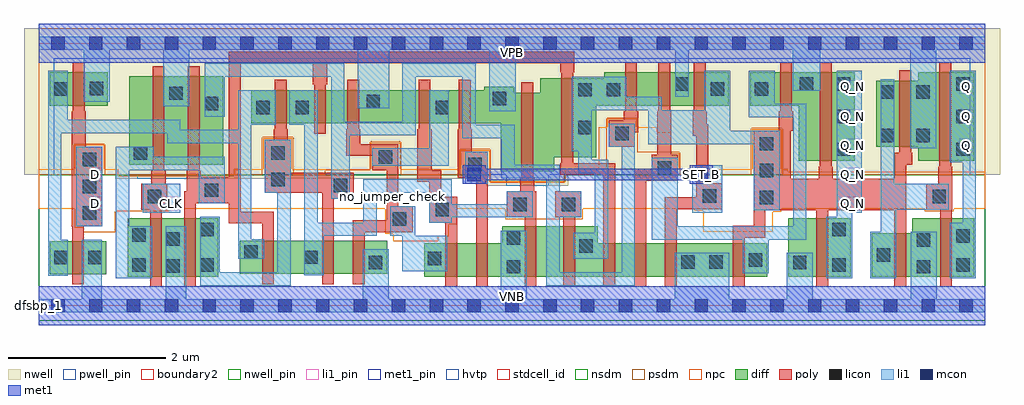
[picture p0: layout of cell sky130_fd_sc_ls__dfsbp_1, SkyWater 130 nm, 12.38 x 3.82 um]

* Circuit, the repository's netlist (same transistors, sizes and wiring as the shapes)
* Copyright 2020 The SkyWater PDK Authors
*
* Licensed under the Apache License, Version 2.0 (the "License");
* you may not use this file except in compliance with the License.
* You may obtain a copy of the License at
*
*     https://www.apache.org/licenses/LICENSE-2.0
*
* Unless required by applicable law or agreed to in writing, software
* distributed under the License is distributed on an "AS IS" BASIS,
* WITHOUT WARRANTIES OR CONDITIONS OF ANY KIND, either express or implied.
* See the License for the specific language governing permissions and
* limitations under the License.
*
* SPDX-License-Identifier: Apache-2.0

.SUBCKT sky130_fd_sc_ls__dfsbp_1 CLK D SET_B VGND VNB VPB VPWR Q Q_N
*.PININFO CLK:I D:I SET_B:I VGND:I VNB:I VPB:I VPWR:I Q:O Q_N:O
MI36 net129 M0 VGND VNB sky130_fd_pr__nfet_01v8 m=1 w=0.64U l=0.15U mult=1 sa=0.265
+ sb=0.265 sd=0.28 area=0.063 perim=1.14
MI42 db clkneg M0 VNB sky130_fd_pr__nfet_01v8 m=1 w=0.42U l=0.15U mult=1 sa=0.265
+ sb=0.265 sd=0.28 area=0.063 perim=1.14
MI44 clkneg CLK VGND VNB sky130_fd_pr__nfet_01v8 m=1 w=0.74U l=0.15U mult=1 sa=0.265
+ sb=0.265 sd=0.28 area=0.063 perim=1.14
MI39 db D VGND VNB sky130_fd_pr__nfet_01v8 m=1 w=0.42U l=0.15U mult=1 sa=0.265
+ sb=0.265 sd=0.28 area=0.063 perim=1.14
MI656 M1 M0 net112 VNB sky130_fd_pr__nfet_01v8 m=1 w=0.42U l=0.15U mult=1 sa=0.265
+ sb=0.265 sd=0.28 area=0.063 perim=1.14
MI654 net109 M1 VGND VNB sky130_fd_pr__nfet_01v8 m=1 w=0.42U l=0.15U mult=1 sa=0.265
+ sb=0.265 sd=0.28 area=0.063 perim=1.14
MI34 S0 clkpos net129 VNB sky130_fd_pr__nfet_01v8 m=1 w=0.64U l=0.15U mult=1 sa=0.265
+ sb=0.265 sd=0.28 area=0.063 perim=1.14
MI46 clkpos clkneg VGND VNB sky130_fd_pr__nfet_01v8 m=1 w=0.74U l=0.15U mult=1
+ sa=0.265 sb=0.265 sd=0.28 area=0.063 perim=1.14
MI25 net97 SET_B VGND VNB sky130_fd_pr__nfet_01v8 m=1 w=0.42U l=0.15U mult=1 sa=0.265
+ sb=0.265 sd=0.28 area=0.063 perim=1.14
MI26 S0 clkneg net89 VNB sky130_fd_pr__nfet_01v8 m=1 w=0.42U l=0.15U mult=1 sa=0.265
+ sb=0.265 sd=0.28 area=0.063 perim=1.14
MI27 net89 S1 net97 VNB sky130_fd_pr__nfet_01v8 m=1 w=0.42U l=0.15U mult=1 sa=0.265
+ sb=0.265 sd=0.28 area=0.063 perim=1.14
MI647 S1 S0 VGND VNB sky130_fd_pr__nfet_01v8 m=1 w=0.42U l=0.15U mult=1 sa=0.265
+ sb=0.265 sd=0.28 area=0.063 perim=1.14
MI655 M0 clkpos net109 VNB sky130_fd_pr__nfet_01v8 m=1 w=0.42U l=0.15U mult=1 sa=0.265
+ sb=0.265 sd=0.28 area=0.063 perim=1.14
MI657 net112 SET_B VGND VNB sky130_fd_pr__nfet_01v8 m=1 w=0.42U l=0.15U mult=1
+ sa=0.265 sb=0.265 sd=0.28 area=0.063 perim=1.14
MI652 net141 S0 VGND VNB sky130_fd_pr__nfet_01v8 m=1 w=0.55U l=0.15U mult=1 sa=0.265
+ sb=0.265 sd=0.28 area=0.063 perim=1.14
MI653 Q net141 VGND VNB sky130_fd_pr__nfet_01v8 m=1 w=0.74U l=0.15U mult=1 sa=0.265
+ sb=0.265 sd=0.28 area=0.063 perim=1.14
MI49 Q_N S0 VGND VNB sky130_fd_pr__nfet_01v8 m=1 w=0.74U l=0.15U mult=1 sa=0.265
+ sb=0.265 sd=0.28 area=0.063 perim=1.14
MI40 db D VPWR VPB sky130_fd_pr__pfet_01v8_hvt m=1 w=0.42U l=0.15U mult=1 sa=0.265
+ sb=0.265 sd=0.28 area=0.063 perim=1.14
MI38 S0 clkneg net192 VPB sky130_fd_pr__pfet_01v8_hvt m=1 w=1.0U l=0.15U mult=1
+ sa=0.265 sb=0.265 sd=0.28 area=0.063 perim=1.14
MI37 net192 M0 VPWR VPB sky130_fd_pr__pfet_01v8_hvt m=1 w=1.0U l=0.15U mult=1 sa=0.265
+ sb=0.265 sd=0.28 area=0.063 perim=1.14
MI43 db clkpos M0 VPB sky130_fd_pr__pfet_01v8_hvt m=1 w=0.42U l=0.15U mult=1 sa=0.265
+ sb=0.265 sd=0.28 area=0.063 perim=1.14
MI45 clkneg CLK VPWR VPB sky130_fd_pr__pfet_01v8_hvt m=1 w=1.12U l=0.15U mult=1
+ sa=0.265 sb=0.265 sd=0.28 area=0.063 perim=1.14
MI47 clkpos clkneg VPWR VPB sky130_fd_pr__pfet_01v8_hvt m=1 w=1.12U l=0.15U mult=1
+ sa=0.265 sb=0.265 sd=0.28 area=0.063 perim=1.14
MI659 M1 SET_B VPWR VPB sky130_fd_pr__pfet_01v8_hvt m=1 w=0.42U l=0.15U mult=1
+ sa=0.265 sb=0.265 sd=0.28 area=0.063 perim=1.14
MI662 net169 M1 VPWR VPB sky130_fd_pr__pfet_01v8_hvt m=1 w=0.42U l=0.15U mult=1
+ sa=0.265 sb=0.265 sd=0.28 area=0.063 perim=1.14
MI664 M0 clkneg net169 VPB sky130_fd_pr__pfet_01v8_hvt m=1 w=0.42U l=0.15U mult=1
+ sa=0.265 sb=0.265 sd=0.28 area=0.063 perim=1.14
MI6 net156 S1 VPWR VPB sky130_fd_pr__pfet_01v8_hvt m=1 w=0.42U l=0.15U mult=1 sa=0.265
+ sb=0.265 sd=0.28 area=0.063 perim=1.14
MI5 S0 clkpos net156 VPB sky130_fd_pr__pfet_01v8_hvt m=1 w=0.42U l=0.15U mult=1
+ sa=0.265 sb=0.265 sd=0.28 area=0.063 perim=1.14
MI24 S0 SET_B VPWR VPB sky130_fd_pr__pfet_01v8_hvt m=1 w=0.42U l=0.15U mult=1 sa=0.265
+ sb=0.265 sd=0.28 area=0.063 perim=1.14
MI648 S1 S0 VPWR VPB sky130_fd_pr__pfet_01v8_hvt m=1 w=0.42U l=0.15U mult=1 sa=0.265
+ sb=0.265 sd=0.28 area=0.063 perim=1.14
MI658 M1 M0 VPWR VPB sky130_fd_pr__pfet_01v8_hvt m=1 w=0.42U l=0.15U mult=1 sa=0.265
+ sb=0.265 sd=0.28 area=0.063 perim=1.14
MI663 net141 S0 VPWR VPB sky130_fd_pr__pfet_01v8_hvt m=1 w=0.84U l=0.15U mult=1
+ sa=0.265 sb=0.265 sd=0.28 area=0.063 perim=1.14
MI660 Q net141 VPWR VPB sky130_fd_pr__pfet_01v8_hvt m=1 w=1.12U l=0.15U mult=1
+ sa=0.265 sb=0.265 sd=0.28 area=0.063 perim=1.14
MI50 Q_N S0 VPWR VPB sky130_fd_pr__pfet_01v8_hvt m=1 w=1.12U l=0.15U mult=1 sa=0.265
+ sb=0.265 sd=0.28 area=0.063 perim=1.14
.ENDS sky130_fd_sc_ls__dfsbp_1

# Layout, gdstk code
import gdstk
lib = gdstk.Library(unit=1e-6, precision=1e-09)
def R(c, l, rs):  # rectangles x0, y0, x1, y1
    for r in rs: c.add(gdstk.rectangle(r[:2], r[2:], *l))
def A(c, l, x, y, w, h, nx, ny, dx, dy):  # array of equal rectangles
    R(c, l, [(x+i*dx, y+j*dy, x+i*dx+w, y+j*dy+h) for i in range(nx) for j in range(ny)])
def P(c, l, *ps):  # polygons
    for p in ps: c.add(gdstk.Polygon(p, *l))
nwell_pin = (64, 16)
nwell = (64, 20)
diff = (65, 20)
poly = (66, 20)
licon = (66, 44)
li1_pin = (67, 16)
li1 = (67, 20)
mcon = (67, 44)
met1_pin = (68, 16)
met1 = (68, 20)
hvtp = (78, 44)
stdcell_id = (81, 4)
nsdm = (93, 44)
psdm = (94, 20)
npc = (95, 20)
pwell_pin = (122, 16)
boundary2 = (236, 0)

sky130_fd_sc_ls__dfsbp_1 = lib.new_cell('sky130_fd_sc_ls__dfsbp_1')
R(sky130_fd_sc_ls__dfsbp_1, nwell_pin, [(0,3.085,12,3.33)])
P(sky130_fd_sc_ls__dfsbp_1, nwell, [(12.19,3.52),(-0.19,3.52),(-0.19,1.66),(0.965,1.66),(0.965,1.61),(5.675,1.61),(5.675,1.525),(6.715,1.525),(6.715,1.66),(12.19,1.66)])
R(sky130_fd_sc_ls__dfsbp_1, diff, [(1.125,0.37,2.275,1.11), (9.505,0.37,10.295,1.11), (0.135,0.4,0.855,0.82), (2.545,0.405,4.415,0.825), (1.145,1.79,2.335,2.91), (0.135,2.54,0.875,2.96)])
P(sky130_fd_sc_ls__dfsbp_1, diff, [(8.75,2.96),(7.17,2.96),(7.17,2.885),(6.36,2.885),(6.36,2.705),(6.03,2.705),(6.03,2.775),(5.65,2.775),(5.65,2.735),(2.695,2.735),(2.695,2.315),(5.855,2.315),(5.855,1.705),(6.535,1.705),(6.535,1.885),(7.07,1.885),(7.07,2.54),(8.75,2.54)],
  [(9.235,0.79),(7.085,0.79),(7.085,1.01),(5.875,1.01),(5.875,0.79),(4.89,0.79),(4.89,0.37),(9.235,0.37)],
  [(10.35,2.96),(9.02,2.96),(9.02,2.54),(9.64,2.54),(9.64,1.84),(10.35,1.84)],
  [(11.865,2.96),(11.155,2.96),(11.155,2.855),(10.62,2.855),(10.62,2.015),(11.155,2.015),(11.155,1.84),(11.865,1.84)],
  [(11.865,1.11),(11.075,1.11),(11.075,0.92),(10.565,0.92),(10.565,0.37),(11.865,0.37)])
P(sky130_fd_sc_ls__dfsbp_1, poly, [(5.695,1.955),(5.49,1.955),(5.49,2.24),(5.475,2.24),(5.475,2.865),(5.325,2.865),(5.325,2.24),(5.31,2.24),(5.31,1.625),(5.545,1.625),(5.545,0.24),(5.695,0.24)],
  [(6.31,1.45),(6.285,1.45),(6.285,1.63),(6.27,1.63),(6.27,2.835),(6.12,2.835),(6.12,1.63),(6.105,1.63),(6.105,1.45),(5.935,1.45),(5.935,1.12),(6.16,1.12),(6.16,0.24),(6.31,0.24)],
  [(6.88,1.45),(6.55,1.45),(6.55,1.12),(6.65,1.12),(6.65,0.24),(6.8,0.24),(6.8,1.12),(6.88,1.12)],
  [(7.31,1.81),(6.775,1.81),(6.775,2.96),(6.79,2.96),(6.79,3.225),(2.41,3.225),(2.41,1.63),(2.055,1.63),(2.055,1.715),(2.04,1.715),(2.04,3.04),(1.89,3.04),(1.89,1.715),(1.875,1.715),(1.875,1.45),(1.84,1.45),(1.84,0.24),(1.99,0.24),(1.99,1.3),(2.41,1.3),(2.41,1.045),(2.83,1.045),(2.83,0.275),(2.98,0.275),(2.98,1.195),(2.56,1.195),(2.56,3.075),(3.475,3.075),(3.475,2.81),(3.49,2.81),(3.49,2.185),(3.64,2.185),(3.64,2.81),(3.655,2.81),(3.655,3.075),(6.61,3.075),(6.61,2.96),(6.625,2.96),(6.625,1.81),(6.61,1.81),(6.61,1.66),(7.16,1.66),(7.16,0.24),(7.31,0.24)],
  [(7.6,2.465),(7.585,2.465),(7.585,3.09),(7.435,3.09),(7.435,2.465),(7.42,2.465),(7.42,2.35),(7.23,2.35),(7.23,2.02),(7.56,2.02),(7.56,2.2),(7.6,2.2)],
  [(8.1,1.915),(8.02,1.915),(8.02,2.465),(8.005,2.465),(8.005,3.09),(7.855,3.09),(7.855,2.465),(7.84,2.465),(7.84,1.915),(7.77,1.915),(7.77,1.735),(7.55,1.735),(7.55,0.24),(7.7,0.24),(7.7,1.585),(8.1,1.585)],
  [(8.67,1.555),(8.49,1.555),(8.49,2.305),(8.47,2.305),(8.47,2.465),(8.455,2.465),(8.455,3.09),(8.305,3.09),(8.305,2.465),(8.29,2.465),(8.29,2.155),(8.34,2.155),(8.34,1.375),(7.94,1.375),(7.94,0.24),(8.09,0.24),(8.09,1.225),(8.67,1.225)],
  [(11.08,1.94),(11.065,1.94),(11.065,2.985),(10.915,2.985),(10.915,1.94),(10.85,1.94),(10.85,1.61),(10.07,1.61),(10.07,1.765),(10.055,1.765),(10.055,3.09),(9.905,3.09),(9.905,1.765),(9.89,1.765),(9.89,1.61),(9.535,1.61),(9.535,2.22),(9.565,2.22),(9.565,2.465),(9.55,2.465),(9.55,3.09),(9.4,3.09),(9.4,2.465),(9.385,2.465),(9.385,2.22),(9.065,2.22),(9.065,1.015),(8.8,1.015),(8.8,0.24),(8.95,0.24),(8.95,0.865),(9.215,0.865),(9.215,1.21),(9.86,1.21),(9.86,0.24),(10.01,0.24),(10.01,1.21),(10.85,1.21),(10.85,0.24),(11,0.24),(11,1.79),(11.08,1.79)],
  [(11.585,1.765),(11.57,1.765),(11.57,3.09),(11.42,3.09),(11.42,1.765),(11.405,1.765),(11.405,1.55),(11.255,1.55),(11.255,1.22),(11.43,1.22),(11.43,0.24),(11.58,0.24),(11.58,1.22),(11.585,1.22)],
  [(0.805,2.02),(0.595,2.02),(0.595,2.465),(0.58,2.465),(0.58,3.09),(0.43,3.09),(0.43,2.465),(0.415,2.465),(0.415,1.01),(0.42,1.01),(0.42,0.27),(0.57,0.27),(0.57,1.01),(0.805,1.01)],
  [(1.63,1.55),(1.605,1.55),(1.605,1.715),(1.59,1.715),(1.59,3.04),(1.44,3.04),(1.44,1.715),(1.425,1.715),(1.425,1.55),(1.3,1.55),(1.3,1.22),(1.41,1.22),(1.41,0.24),(1.56,0.24),(1.56,1.22),(1.63,1.22)],
  [(3.99,1.69),(3.195,1.69),(3.195,2.105),(3.155,2.105),(3.155,2.24),(3.14,2.24),(3.14,2.865),(2.99,2.865),(2.99,2.24),(2.975,2.24),(2.975,2.105),(2.865,2.105),(2.865,1.435),(3.59,1.435),(3.59,0.275),(3.74,0.275),(3.74,1.36),(3.99,1.36)],
  [(4.74,1.265),(4.56,1.265),(4.56,2.05),(4.075,2.05),(4.075,2.24),(4.06,2.24),(4.06,2.865),(3.91,2.865),(3.91,2.24),(3.895,2.24),(3.895,1.9),(4.23,1.9),(4.23,1.72),(4.41,1.72),(4.41,1.085),(3.98,1.085),(3.98,0.275),(4.13,0.275),(4.13,0.935),(4.74,0.935)],
  [(5.305,1.385),(5.1,1.385),(5.1,1.72),(4.98,1.72),(4.98,2.24),(4.965,2.24),(4.965,2.865),(4.815,2.865),(4.815,2.24),(4.8,2.24),(4.8,1.57),(4.95,1.57),(4.95,1.055),(5.155,1.055),(5.155,0.24),(5.305,0.24)])
A(sky130_fd_sc_ls__dfsbp_1, licon, 0.555, 1.09, 0.17, 0.17, 1, 3, 0, 0.34)
A(sky130_fd_sc_ls__dfsbp_1, licon, 9.145, 1.29, 0.17, 0.17, 1, 3, 0, 0.34)
A(sky130_fd_sc_ls__dfsbp_1, licon, 10.12, 1.9, 0.17, 0.17, 1, 3, 0, 0.415)
A(sky130_fd_sc_ls__dfsbp_1, licon, 11.635, 1.9, 0.17, 0.17, 1, 3, 0, 0.415)
R(sky130_fd_sc_ls__dfsbp_1, licon, [(5.935,0.41,6.105,0.58), (11.135,0.41,11.305,0.58), (1.615,0.42,1.785,0.59), (1.185,0.43,1.355,0.6), (2.045,0.43,2.215,0.6), (10.065,0.43,10.235,0.6), (11.635,0.43,11.805,0.6), (4.185,0.465,4.355,0.635), (9.565,0.465,9.735,0.635), (8.145,0.47,8.315,0.64), (8.505,0.47,8.675,0.64), (9.005,0.495,9.175,0.665), (4.93,0.515,5.1,0.685), (0.195,0.525,0.365,0.695), (0.625,0.525,0.795,0.695), (3.365,0.53,3.535,0.7), (10.625,0.56,10.795,0.73), (2.605,0.595,2.775,0.765), (6.855,0.675,7.025,0.845), (11.135,0.75,11.305,0.92), (1.615,0.76,1.785,0.93), (5.935,0.775,6.105,0.945), (11.635,0.8,11.805,0.97), (1.185,0.815,1.355,0.985), (2.045,0.88,2.215,1.05), (10.065,0.88,10.235,1.05), (4.49,1.015,4.66,1.185), (5.03,1.135,5.2,1.305), (6.015,1.2,6.185,1.37), (6.63,1.2,6.8,1.37), (1.38,1.3,1.55,1.47), (11.335,1.3,11.505,1.47), (8.42,1.305,8.59,1.475), (2.105,1.38,2.275,1.55), (3.74,1.44,3.91,1.61), (2.945,1.515,3.115,1.685), (7.85,1.665,8.02,1.835), (5.445,1.705,5.615,1.875), (4.31,1.8,4.48,1.97), (1.205,1.85,1.375,2.02), (2.945,1.855,3.115,2.025), (10.68,2.075,10.85,2.245), (11.13,2.075,11.3,2.245), (7.31,2.1,7.48,2.27), (6.84,2.175,7.01,2.345), (2.755,2.43,2.925,2.6), (3.255,2.43,3.425,2.6), (5.03,2.43,5.2,2.6), (2.105,2.48,2.275,2.65), (4.155,2.505,4.325,2.675), (5.755,2.545,5.925,2.715), (1.655,2.61,1.825,2.78), (10.68,2.625,10.85,2.795), (11.13,2.625,11.3,2.795), (6.84,2.655,7.01,2.825), (7.2,2.655,7.37,2.825), (0.195,2.665,0.365,2.835), (8.52,2.665,8.69,2.835), (9.08,2.665,9.25,2.835), (0.645,2.67,0.815,2.84), (8.07,2.73,8.24,2.9), (9.65,2.73,9.82,2.9)])
A(sky130_fd_sc_ls__dfsbp_1, li1_pin, 10.235, 1.21, 0.17, 0.17, 1, 5, 0, 0.37)
A(sky130_fd_sc_ls__dfsbp_1, li1_pin, 11.675, 1.95, 0.17, 0.17, 1, 3, 0, 0.37)
R(sky130_fd_sc_ls__dfsbp_1, li1_pin, [(0.635,1.21,0.805,1.38), (1.595,1.21,1.765,1.38), (0.635,1.58,0.805,1.75)])
R(sky130_fd_sc_ls__dfsbp_1, li1, [(0.475,1.01,0.805,2.02), (1.315,1.18,1.795,1.55), (8.285,1.18,8.67,1.78), (5.405,1.55,5.695,1.955)])
P(sky130_fd_sc_ls__dfsbp_1, li1, [(0,-0.085),(0,0.085),(0.545,0.085),(0.545,0.84),(0.795,0.84),(0.795,0.085),(1.605,0.085),(1.605,1.01),(1.865,1.01),(1.865,0.085),(4.105,0.085),(4.105,0.715),(4.435,0.715),(4.435,0.085),(5.855,0.085),(5.855,0.95),(6.185,0.95),(6.185,0.085),(8.065,0.085),(8.065,0.67),(8.755,0.67),(8.755,0.085),(9.485,0.085),(9.485,0.67),(9.815,0.67),(9.815,0.085),(11.055,0.085),(11.055,0.94),(11.385,0.94),(11.385,0.085),(12,0.085),(12,-0.085)],
  [(0,3.245),(0,3.415),(12,3.415),(12,3.245),(11.38,3.245),(11.38,1.995),(11.05,1.995),(11.05,3.245),(9.91,3.245),(9.91,2.73),(9.56,2.73),(9.56,3.245),(8.24,3.245),(8.24,2.65),(8.07,2.65),(8.07,3.245),(6.05,3.245),(6.05,2.465),(5.71,2.465),(5.71,3.245),(4.44,3.245),(4.44,2.505),(4.045,2.505),(4.045,3.245),(1.905,3.245),(1.905,2.53),(1.575,2.53),(1.575,3.245),(0.895,3.245),(0.895,2.59),(0.565,2.59),(0.565,3.245)],
  [(11.555,1.82),(11.555,2.98),(11.885,2.98),(11.885,0.35),(11.555,0.35),(11.555,1.05),(11.715,1.05),(11.715,1.82)],
  [(10.12,1.13),(10.12,2.98),(10.435,2.98),(10.435,1.18),(10.315,1.18),(10.315,0.35),(9.985,0.35),(9.985,1.13)],
  [(1.455,1.89),(2.355,1.89),(2.355,1.3),(2.025,1.3),(2.025,1.72),(1.145,1.72),(1.145,1.01),(1.435,1.01),(1.435,0.35),(0.975,0.35),(0.975,2.02),(1.455,2.02)],
  [(7.77,0.84),(7.77,1.88),(8.1,1.88),(8.1,1.01),(9.565,1.01),(9.565,2.39),(9,2.39),(9,2.98),(9.33,2.98),(9.33,2.56),(9.735,2.56),(9.735,0.84),(9.255,0.84),(9.255,0.415),(8.925,0.415),(8.925,0.84)],
  [(6.76,2.905),(7.45,2.905),(7.45,2.65),(7.9,2.65),(7.9,2.48),(8.44,2.48),(8.44,2.98),(8.77,2.98),(8.77,2.22),(9.395,2.22),(9.395,1.21),(9.065,1.21),(9.065,2.05),(7.73,2.05),(7.73,2.48),(7.01,2.48),(7.01,1.85),(7.22,1.85),(7.22,0.595),(6.775,0.595),(6.775,0.925),(7.05,0.925),(7.05,1.68),(6.84,1.68),(6.84,1.96),(6.76,1.96)],
  [(10.68,2.875),(10.85,2.875),(10.85,1.55),(11.54,1.55),(11.54,1.22),(10.875,1.22),(10.875,0.35),(10.545,0.35),(10.545,0.94),(10.68,0.94)],
  [(4.455,0.885),(4.455,1.265),(4.775,1.265),(4.775,0.885),(5.18,0.885),(5.18,0.435),(4.605,0.435),(4.605,0.885)],
  [(0.365,2.36),(1.795,2.36),(1.795,2.23),(2.525,2.23),(2.525,2.735),(3.005,2.735),(3.005,2.295),(2.695,2.295),(2.695,0.845),(2.855,0.845),(2.855,0.595),(2.525,0.595),(2.525,2.06),(1.625,2.06),(1.625,2.19),(0.285,2.19),(0.285,0.84),(0.365,0.84),(0.365,0.38),(0.115,0.38),(0.115,2.98),(0.365,2.98)],
  [(3.705,2.905),(2.355,2.905),(2.355,2.4),(2.105,2.4),(2.105,3.075),(3.875,3.075),(3.875,2.335),(4.61,2.335),(4.61,3.075),(5.54,3.075),(5.54,2.295),(6.035,2.295),(6.035,1.79),(6.605,1.79),(6.605,1.45),(6.88,1.45),(6.88,1.12),(6.605,1.12),(6.605,0.425),(7.39,0.425),(7.39,2.02),(7.23,2.02),(7.23,2.31),(7.56,2.31),(7.56,0.255),(6.435,0.255),(6.435,1.62),(5.865,1.62),(5.865,2.125),(5.37,2.125),(5.37,2.905),(4.78,2.905),(4.78,2.165),(3.945,2.165),(3.945,1.36),(3.705,1.36)],
  [(4.23,1.775),(4.23,1.995),(4.95,1.995),(4.95,2.735),(5.2,2.735),(5.2,1.775)],
  [(2.045,0.255),(2.045,1.13),(2.295,1.13),(2.295,0.425),(3.025,0.425),(3.025,1.435),(2.865,1.435),(2.865,2.105),(3.195,2.105),(3.195,0.255)],
  [(3.365,2.295),(3.175,2.295),(3.175,2.735),(3.535,2.735),(3.535,1.055),(4.115,1.055),(4.115,1.605),(5.235,1.605),(5.235,1.29),(5.935,1.29),(5.935,1.45),(6.265,1.45),(6.265,1.12),(5.235,1.12),(5.235,1.055),(4.95,1.055),(4.95,1.435),(4.285,1.435),(4.285,0.885),(3.615,0.885),(3.615,0.385),(3.365,0.385)])
A(sky130_fd_sc_ls__dfsbp_1, mcon, 0.155, -0.085, 0.17, 0.17, 25, 2, 0.48, 3.33)
R(sky130_fd_sc_ls__dfsbp_1, mcon, [(5.435,1.58,5.605,1.75), (8.315,1.58,8.485,1.75)])
R(sky130_fd_sc_ls__dfsbp_1, met1_pin, [(0,0,12,0.245), (8.315,1.58,8.485,1.75), (0,3.085,12,3.33)])
R(sky130_fd_sc_ls__dfsbp_1, met1, [(0,-0.245,12,0.245), (0,3.085,12,3.575)])
P(sky130_fd_sc_ls__dfsbp_1, met1, [(5.665,1.735),(8.255,1.735),(8.255,1.78),(8.545,1.78),(8.545,1.55),(8.255,1.55),(8.255,1.595),(5.665,1.595),(5.665,1.55),(5.375,1.55),(5.375,1.78),(5.665,1.78)])
P(sky130_fd_sc_ls__dfsbp_1, hvtp, [(11.81,3.14),(0.19,3.14),(0.19,1.66),(1.245,1.66),(1.245,1.61),(2.235,1.61),(2.235,1.66),(5.925,1.66),(5.925,1.525),(6.465,1.525),(6.465,1.66),(11.81,1.66)])
R(sky130_fd_sc_ls__dfsbp_1, stdcell_id, [(0,0,12,3.33)])
P(sky130_fd_sc_ls__dfsbp_1, nsdm, [(12,1.66),(6.665,1.66),(6.665,1.575),(5.725,1.575),(5.725,1.66),(0,1.66),(0,-0.19),(12,-0.19)])
P(sky130_fd_sc_ls__dfsbp_1, psdm, [(12,3.52),(0,3.52),(0,1.66),(0.445,1.66),(0.445,2.05),(0.835,2.05),(0.835,1.66),(2.835,1.66),(2.835,2.135),(3.225,2.135),(3.225,1.66),(3.63,1.66),(3.63,1.72),(4.2,1.72),(4.2,2.08),(4.59,2.08),(4.59,1.66),(5.335,1.66),(5.335,1.985),(5.725,1.985),(5.725,1.575),(6.665,1.575),(6.665,1.66),(7.2,1.66),(7.2,2.38),(7.59,2.38),(7.59,1.945),(8.13,1.945),(8.13,1.66),(9.035,1.66),(9.035,2.25),(9.425,2.25),(9.425,1.66),(12,1.66)])
P(sky130_fd_sc_ls__dfsbp_1, npc, [(12,1.7),(9.5,1.7),(9.5,1.73),(9.415,1.73),(9.415,2.24),(9.045,2.24),(9.045,1.73),(8.12,1.73),(8.12,1.935),(8.015,1.935),(8.015,2.2),(7.845,2.2),(7.845,2.265),(7.58,2.265),(7.58,2.37),(7.21,2.37),(7.21,2.265),(7.1,2.265),(7.1,1.73),(6.675,1.73),(6.675,1.565),(5.715,1.565),(5.715,1.975),(5.345,1.975),(5.345,1.73),(4.58,1.73),(4.58,2.07),(4.21,2.07),(4.21,1.73),(3.215,1.73),(3.215,2.125),(2.845,2.125),(2.845,1.73),(2.475,1.73),(2.475,1.65),(1.005,1.65),(1.005,1.73),(0.825,1.73),(0.825,2.04),(0.455,2.04),(0.455,1.73),(0,1.73),(0,1.23),(0.455,1.23),(0.455,0.99),(0.56,0.99),(0.56,0.935),(0.965,0.935),(0.965,1.2),(1.65,1.2),(1.65,1.23),(4.39,1.23),(4.39,0.915),(4.495,0.915),(4.495,0.82),(5.065,0.82),(5.065,0.88),(5.195,0.88),(5.195,1.035),(5.3,1.035),(5.3,1.23),(5.915,1.23),(5.915,1.1),(6.9,1.1),(6.9,1.23),(8.32,1.23),(8.32,1.205),(8.425,1.205),(8.425,0.94),(9.31,0.94),(9.31,1.19),(9.415,1.19),(9.415,1.23),(11.235,1.23),(11.235,1.2),(11.605,1.2),(11.605,1.23),(12,1.23)])
R(sky130_fd_sc_ls__dfsbp_1, pwell_pin, [(0,0,12,0.245)])
R(sky130_fd_sc_ls__dfsbp_1, boundary2, [(0,0,12,3.33)])
sky130_fd_sc_ls__dfsbp_1.add(gdstk.Label('dfsbp_1', (0,0), layer=83, texttype=44))
sky130_fd_sc_ls__dfsbp_1.add(gdstk.Label('no_jumper_check', (4.49,1.38), layer=83, texttype=44))
sky130_fd_sc_ls__dfsbp_1.add(gdstk.Label('no_jumper_check', (3.285,1.545), layer=83, texttype=44))
sky130_fd_sc_ls__dfsbp_1.add(gdstk.Label('VNB', (6,0.123), layer=64, texttype=59))
sky130_fd_sc_ls__dfsbp_1.add(gdstk.Label('VPB', (6,3.208), layer=64, texttype=5))
sky130_fd_sc_ls__dfsbp_1.add(gdstk.Label('SET_B', (8.4,1.665), layer=68, texttype=5))
sky130_fd_sc_ls__dfsbp_1.add(gdstk.Label('VPWR', (6,3.208), layer=68, texttype=5))
sky130_fd_sc_ls__dfsbp_1.add(gdstk.Label('VGND', (6,0.123), layer=68, texttype=5))
sky130_fd_sc_ls__dfsbp_1.add(gdstk.Label('Q', (11.76,2.035), layer=67, texttype=5))
sky130_fd_sc_ls__dfsbp_1.add(gdstk.Label('Q', (11.76,2.405), layer=67, texttype=5))
sky130_fd_sc_ls__dfsbp_1.add(gdstk.Label('Q', (11.76,2.775), layer=67, texttype=5))
sky130_fd_sc_ls__dfsbp_1.add(gdstk.Label('Q_N', (10.32,1.295), layer=67, texttype=5))
sky130_fd_sc_ls__dfsbp_1.add(gdstk.Label('Q_N', (10.32,1.665), layer=67, texttype=5))
sky130_fd_sc_ls__dfsbp_1.add(gdstk.Label('Q_N', (10.32,2.035), layer=67, texttype=5))
sky130_fd_sc_ls__dfsbp_1.add(gdstk.Label('Q_N', (10.32,2.405), layer=67, texttype=5))
sky130_fd_sc_ls__dfsbp_1.add(gdstk.Label('Q_N', (10.32,2.775), layer=67, texttype=5))
sky130_fd_sc_ls__dfsbp_1.add(gdstk.Label('D', (0.72,1.295), layer=67, texttype=5))
sky130_fd_sc_ls__dfsbp_1.add(gdstk.Label('D', (0.72,1.665), layer=67, texttype=5))
sky130_fd_sc_ls__dfsbp_1.add(gdstk.Label('CLK', (1.68,1.295), layer=67, texttype=5))

lib.write_gds('sky130_fd_sc_ls__dfsbp_1.gds')
